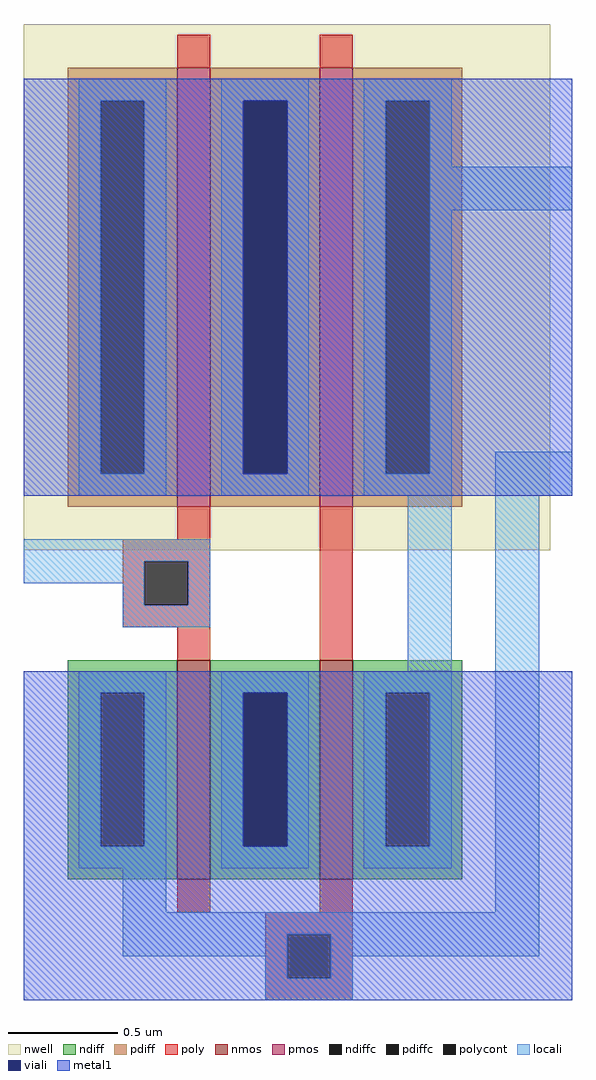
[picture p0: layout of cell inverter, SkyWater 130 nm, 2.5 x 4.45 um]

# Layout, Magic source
magic
tech sky130A
<< nwell >>
rect -230 515 10 755
<< nmos >>
rect -160 365 -145 465
rect -95 365 -80 465
<< pmos >>
rect -160 535 -145 735
rect -95 535 -80 735
<< ndiff >>
rect -210 450 -160 465
rect -210 380 -195 450
rect -175 380 -160 450
rect -210 365 -160 380
rect -145 450 -95 465
rect -145 380 -130 450
rect -110 380 -95 450
rect -145 365 -95 380
rect -80 450 -30 465
rect -80 380 -65 450
rect -45 380 -30 450
rect -80 365 -30 380
<< pdiff >>
rect -210 720 -160 735
rect -210 550 -195 720
rect -175 550 -160 720
rect -210 535 -160 550
rect -145 720 -95 735
rect -145 550 -130 720
rect -110 550 -95 720
rect -145 535 -95 550
rect -80 720 -30 735
rect -80 550 -65 720
rect -45 550 -30 720
rect -80 535 -30 550
<< ndiffc >>
rect -195 380 -175 450
rect -130 380 -110 450
rect -65 380 -45 450
<< pdiffc >>
rect -195 550 -175 720
rect -130 550 -110 720
rect -65 550 -45 720
<< poly >>
rect -160 735 -145 750
rect -95 735 -80 750
rect -160 520 -145 535
rect -185 510 -145 520
rect -185 490 -175 510
rect -155 490 -145 510
rect -185 480 -145 490
rect -160 465 -145 480
rect -95 465 -80 535
rect -160 350 -145 365
rect -95 350 -80 365
rect -120 340 -80 350
rect -120 320 -110 340
rect -90 320 -80 340
rect -120 310 -80 320
<< polycont >>
rect -175 490 -155 510
rect -110 320 -90 340
<< locali >>
rect -205 720 -165 730
rect -205 550 -195 720
rect -175 550 -165 720
rect -205 540 -165 550
rect -140 720 -100 730
rect -140 550 -130 720
rect -110 550 -100 720
rect -140 540 -100 550
rect -75 720 -35 730
rect -75 550 -65 720
rect -45 690 -35 720
rect -45 670 20 690
rect -45 550 -35 670
rect -75 540 -35 550
rect -230 510 -145 520
rect -230 500 -175 510
rect -185 490 -175 500
rect -155 490 -145 510
rect -185 480 -145 490
rect -55 460 -35 540
rect -205 450 -165 460
rect -205 380 -195 450
rect -175 380 -165 450
rect -205 370 -165 380
rect -140 450 -100 460
rect -140 380 -130 450
rect -110 380 -100 450
rect -140 370 -100 380
rect -75 450 -35 460
rect -75 380 -65 450
rect -45 380 -35 450
rect -75 370 -35 380
rect -15 540 20 560
rect -185 350 -165 370
rect -15 350 5 540
rect -185 340 5 350
rect -185 330 -110 340
rect -120 320 -110 330
rect -90 330 5 340
rect -90 320 -80 330
rect -120 310 -80 320
<< viali >>
rect -130 550 -110 720
rect -130 380 -110 450
<< metal1 >>
rect -230 720 20 730
rect -230 550 -130 720
rect -110 550 20 720
rect -230 540 20 550
rect -230 450 20 460
rect -230 380 -130 450
rect -110 380 20 450
rect -230 310 20 380
<< end >>
